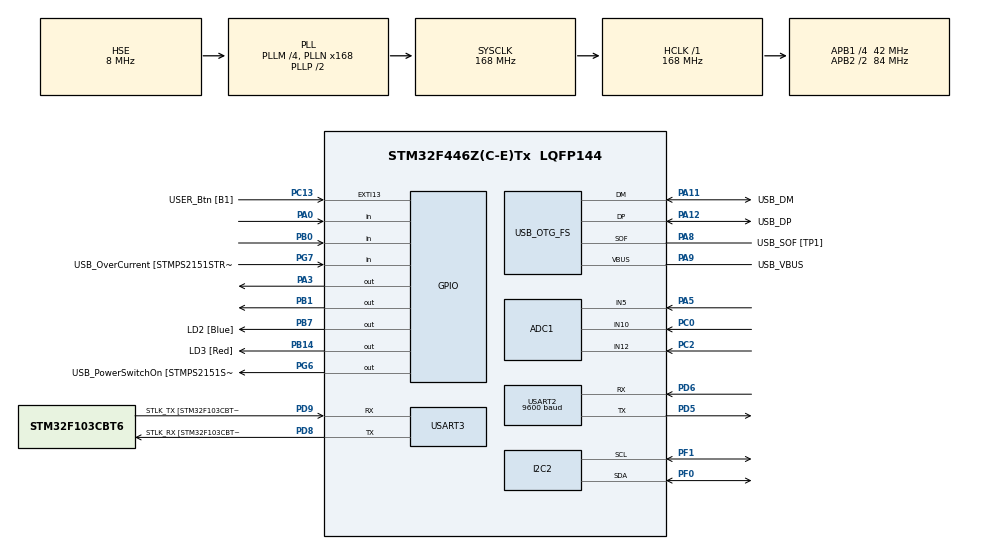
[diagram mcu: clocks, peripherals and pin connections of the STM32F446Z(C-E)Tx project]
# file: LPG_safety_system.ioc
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ADC1.Channel-0\#ChannelRegularConversion=ADC_CHANNEL_10
ADC1.ContinuousConvMode=DISABLE
ADC1.NbrOfConversionFlag=1
ADC1.Rank-0\#ChannelRegularConversion=1
ADC1.SamplingTime-0\#ChannelRegularConversion=ADC_SAMPLETIME_3CYCLES
ADC1.ScanConvMode=ENABLE
ADC1.master=1
Dma.ADC1.0.Direction=DMA_PERIPH_TO_MEMORY
Dma.ADC1.0.FIFOMode=DMA_FIFOMODE_DISABLE
Dma.ADC1.0.Instance=DMA2_Stream0
Dma.ADC1.0.MemDataAlignment=DMA_MDATAALIGN_HALFWORD
Dma.ADC1.0.MemInc=DMA_MINC_ENABLE
Dma.ADC1.0.Mode=DMA_NORMAL
Dma.ADC1.0.PeriphDataAlignment=DMA_PDATAALIGN_HALFWORD
Dma.ADC1.0.PeriphInc=DMA_PINC_DISABLE
Dma.ADC1.0.Priority=DMA_PRIORITY_LOW
Dma.Request0=ADC1
FREERTOS.Queues01=SensorQueue,16,20,1,Dynamic,NULL,NULL;StatusQueue,16,12,1,Dynamic,NULL,NULL;ControlQueue,16,uint32_t,0,Dynamic,NULL,NULL;CommQueue,8,uint32_t,0,Dynamic,NULL,NULL;CompQueue,8,uint32_t,0,Dynamic,NULL,NULL;LCDQueue,8,uint32_t,0,Dynamic,NULL,NULL;GSMQueue,16,uint32_t,0,Dynamic,NULL,NULL
FREERTOS.Tasks01=defaultTask,0,128,StartDefaultTask,Default,NULL,Dynamic,NULL,NULL;myTask02,0,256,SensorTask,Default,NULL,Dynamic,NULL,NULL;myTask03,3,256,ProcessTask,Default,NULL,Dynamic,NULL,NULL;myTask04,2,256,ControlTask,Default,NULL,Dynamic,NULL,NULL;myTask05,-2,256,CommunicationTask,Default,NULL,Dynamic,NULL,NULL;myTask06,-2,128,CompensationTask,Default,NULL,Dynamic,NULL,NULL;myTask07,0,256,lcd,Default,NULL,Dynamic,NULL,NULL;myTask08,0,128,GSM,Default,NULL,Dynamic,NULL,NULL
FREERTOS.configUSE_NEWLIB_REENTRANT=1
Mcu.Family=STM32F4
Mcu.Name=STM32F446Z(C-E)Tx
Mcu.Package=LQFP144
NVIC.ADC_IRQn=true\:5\:0\:false\:false\:true\:true\:true\:true\:true
NVIC.DMA2_Stream0_IRQn=true\:5\:0\:false\:false\:true\:true\:false\:true\:true
NVIC.PriorityGroup=NVIC_PRIORITYGROUP_4
NVIC.TIM1_UP_TIM10_IRQn=true\:15\:0\:false\:false\:true\:false\:false\:true\:true
NVIC.TimeBase=TIM1_UP_TIM10_IRQn
NVIC.TimeBaseIP=TIM1
PA0-WKUP.GPIO_PuPd=GPIO_PULLUP
PA0-WKUP.Signal=GPIO_Input
PA10.GPIO_Label=USB_ID
PA10.Signal=USB_OTG_FS_ID
PA11.GPIO_Label=USB_DM
PA11.Mode=Device_Only
PA11.Signal=USB_OTG_FS_DM
PA12.GPIO_Label=USB_DP
PA12.Mode=Device_Only
PA12.Signal=USB_OTG_FS_DP
PA13.GPIO_Label=TMS
PA13.Mode=Serial_Wire
PA13.Signal=SYS_JTMS-SWDIO
PA14.GPIO_Label=TCK
PA14.Mode=Serial_Wire
PA14.Signal=SYS_JTCK-SWCLK
PA3.Signal=GPIO_Output
PA5.Signal=ADCx_IN5
PA8.GPIO_Label=USB_SOF [TP1]
PA8.Mode=Activate_SOF_FS
PA8.Signal=USB_OTG_FS_SOF
PA9.GPIO_Label=USB_VBUS
PA9.Mode=Activate_VBUS
PA9.Signal=USB_OTG_FS_VBUS
PB0.GPIO_PuPd=GPIO_NOPULL
PB0.Signal=GPIO_Input
PB1.GPIO_PuPd=GPIO_NOPULL
PB1.GPIO_Speed=GPIO_SPEED_FREQ_LOW
PB1.Signal=GPIO_Output
PB14.GPIO_Label=LD3 [Red]
PB14.Signal=GPIO_Output
PB7.GPIO_Label=LD2 [Blue]
PB7.Signal=GPIO_Output
PC0.Signal=ADCx_IN10
PC13.GPIO_Label=USER_Btn [B1]
PC13.Signal=GPXTI13
PC14-OSC32_IN.Signal=RCC_OSC32_IN
PC15-OSC32_OUT.Signal=RCC_OSC32_OUT
PC2.Signal=ADCx_IN12
PD5.Mode=Asynchronous
PD5.Signal=USART2_TX
PD6.Mode=Asynchronous
PD6.Signal=USART2_RX
PD8.GPIO_Label=STLK_RX [STM32F103CBT6_PA3]
PD8.Mode=Asynchronous
PD8.Signal=USART3_TX
PD9.GPIO_Label=STLK_TX [STM32F103CBT6_PA2]
PD9.Mode=Asynchronous
PD9.Signal=USART3_RX
PF0.GPIO_Pu=GPIO_PULLUP
PF0.Mode=I2C
PF0.Signal=I2C2_SDA
PF1.GPIO_Pu=GPIO_PULLUP
PF1.Mode=I2C
PF1.Signal=I2C2_SCL
PG6.GPIO_Label=USB_PowerSwitchOn [STMPS2151STR_EN]
PG6.Signal=GPIO_Output
PG7.GPIO_Label=USB_OverCurrent [STMPS2151STR_FAULT]
PG7.Signal=GPIO_Input
PH0-OSC_IN.GPIO_Label=MCO [STM32F103CBT6_PA8]
PH0-OSC_IN.Mode=HSE-External-Clock-Source
PH0-OSC_IN.Signal=RCC_OSC_IN
PH1-OSC_OUT.Mode=HSE-External-Clock-Source
PH1-OSC_OUT.Signal=RCC_OSC_OUT
ProjectManager.HeapSize=0x200
ProjectManager.StackSize=0x400
ProjectManager.TargetToolchain=STM32CubeIDE
RCC.48MHZClocksFreq_Value=24000000
RCC.AHBFreq_Value=168000000
RCC.APB1CLKDivider=RCC_HCLK_DIV4
RCC.APB1Freq_Value=42000000
RCC.APB1TimFreq_Value=84000000
RCC.APB2CLKDivider=RCC_HCLK_DIV2
RCC.APB2Freq_Value=84000000
RCC.APB2TimFreq_Value=168000000
RCC.CortexFreq_Value=168000000
RCC.HCLKFreq_Value=168000000
RCC.HSE_VALUE=8000000
RCC.HSI_VALUE=16000000
RCC.PLLM=4
RCC.PLLMUL=RCC_PLL_MUL9
RCC.PLLN=168
RCC.PLLQ=7
RCC.PRESCALERUSB=RCC_USBCLKSOURCE_PLL_DIV1_5
RCC.SYSCLKFreq_VALUE=168000000
RCC.SYSCLKSource=RCC_SYSCLKSOURCE_PLLCLK
RCC.SYSCLKSourceVirtual=RCC_SYSCLKSOURCE_PLLCLK
RCC.USBFreq_Value=48000000
RCC.VCOOutputFreq_Value=336000000
SH.ADCx_IN10.0=ADC1_IN10,IN10
SH.ADCx_IN12.0=ADC1_IN12,IN12
SH.ADCx_IN5.0=ADC1_IN5,IN5
USART2.BaudRate=9600
USART2.VirtualMode=VM_ASYNC
USART3.VirtualMode=VM_ASYNC
USB_OTG_FS.VirtualMode=Device_Only
VP_FREERTOS_VS_CMSIS_V1.Mode=CMSIS_V1
VP_SYS_VS_tim1.Mode=TIM1
board=NUCLEO-F446ZE

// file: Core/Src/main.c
/* USER CODE BEGIN Header */
/**
  ******************************************************************************
  * @file           : main.c
  * @brief          : Main program body
  ******************************************************************************
  * @attention
  *
  * Copyright (c) 2026 STMicroelectronics.
  * All rights reserved.
  *
  * This software is licensed under terms that can be found in the LICENSE file
  * in the root directory of this software component.
  * If no LICENSE file comes with this software, it is provided AS-IS.
  *
  ******************************************************************************
  */
/* USER CODE END Header */
#include "main.h"
#include "cmsis_os.h"

/* USER CODE BEGIN Includes */
#include "mq2_sensor.h"
#include "mq4_sensor.h"
#include "mq7_sensor.h"
#include "hx711.h"
#include "dht22.h"
#include "actuator.h"
#include"LCD.h"
#include"GSM.h"
#include "stm32f4xx_hal.h"
#include<stdio.h>

/* USER CODE END Includes */

/* USER CODE BEGIN PTD */
typedef enum {
    LEAK_NORMAL = 0,   // No leak
    LEAK_SLOW   = 1,   // Slow leak
    LEAK_SUDDEN = 2    // Sudden leak
} LeakType_t;
typedef struct {
	    int32_t hx711_value;//hx711 outputs data in 2's complement format.
	    float weight;
	    uint32_t mq2_value;
	    float mq2_ppm;
	    uint32_t mq4_value;
	    float mq4_ppm;
	    uint32_t mq7_value;
	    float mq7_ppm;
	    float temperature;
	    float humidity;
} SensorData_t;

typedef struct {
	LeakType_t leakType;
    float remainingGas;    // kg
    int anomalyFlag;       // 0/1
    float compensatedGas;  // after environmental compensation
    float humidity,temperature;
    float weight;
    float mq2_ppm,mq4_ppm,mq7_ppm;
} StatusData_t;

/* USER CODE END PTD */

ADC_HandleTypeDef hadc1;//used to configure ADC1
DMA_HandleTypeDef hdma_adc1;
I2C_HandleTypeDef hi2c2;//LCD display
UART_HandleTypeDef huart2;//GSM communication
UART_HandleTypeDef huart3;//Debug terminal
/*Compensation factors-------------------------------------------------*/
volatile float g_mq2_threshold_low  = 50.0f;
volatile float g_mq4_threshold_low  = 50.0f;
volatile float g_mq7_threshold_low  = 20.0f;
volatile float g_mq2_threshold_high = 100.0f;
volatile float g_mq4_threshold_high = 100.0f;
volatile float g_mq7_threshold_high = 100.0f;

PCD_HandleTypeDef hpcd_USB_OTG_FS;

osThreadId defaultTaskHandle;
osThreadId myTask02Handle;
osThreadId myTask03Handle;
osThreadId myTask04Handle;
osThreadId myTask05Handle;
osThreadId myTask06Handle;
osThreadId myTask07Handle;
osThreadId myTask08Handle;
osMessageQId SensorQueueHandle;
osMessageQId StatusQueueHandle;
osMessageQId ControlQueueHandle;
osMessageQId CommQueueHandle;
osMessageQId CompQueueHandle;
osMessageQId LCDQueueHandle;
osMessageQId GSMQueueHandle;
/* USER CODE BEGIN PV */

/*----------------- HX711 calibration values (temporary)----------------------*/
volatile long offset = 0;             // tare offset (baseline)
volatile float factor = 0.00005f;     // ready-made calibration factor

/* USER CODE END PV */

void SystemClock_Config(void);
static void MX_GPIO_Init(void);
static void MX_DMA_Init(void);
static void MX_USART3_UART_Init(void);
static void MX_USB_OTG_FS_PCD_Init(void);
static void MX_ADC1_Init(void);
static void MX_I2C2_Init(void);
static void MX_USART2_UART_Init(void);
void StartDefaultTask(void const * argument);
void SensorTask(void const * argument);
void ProcessTask(void const * argument);
void ControlTask(void const * argument);
void CommunicationTask(void const * argument);
void CompensationTask(void const * argument);
void lcd(void const * argument);
void GSM(void const * argument);

/* USER CODE BEGIN PFP */

/*---------------------UART Redirect------------------------------------------------*/
int __io_putchar(int ch)
 {
     HAL_UART_Transmit(&huart3, (uint8_t *)&ch, 1, HAL_MAX_DELAY);
     return ch;
 }
//-----------------------------------------------------------------------------------//

/* USER CODE END PFP */

/* USER CODE BEGIN 0 */
/*
 * -------------------Code segment to use ITMViewer-----------------------------
int _write(int file, char *ptr, int len)
{
	for (int i=0; i<len; i++)
	{
		ITM_SendChar(ptr[i]);
	}
	return len;
}
*/
//-----------------------------------------------------------------------------//

/*-------------------I2C scanner code-----------------------------------------*/
/*
void I2C_Scanner(void) {
    printf("Starting I2C scan...\r\n");
    for (uint8_t addr = 1; addr < 128; addr++) {
        if (HAL_I2C_IsDeviceReady(&hi2c2, addr << 1, 1, 10) == HAL_OK) {
            printf("Found device at 0x%X\r\n", addr);
        }
    }
    printf("I2C scan complete.\r\n");
}
*/
//----------------------------------------------------------------------------//

/* USER CODE END 0 */

int main(void)
{

  /* MCU Configuration--------------------------------------------------------*/

  /* Reset of all peripherals, Initializes the Flash interface and the Systick. */
  HAL_Init();

  /* USER CODE BEGIN Init */

  /* --------------DWT counter enabled----------------------------------------*/
  CoreDebug->DEMCR |= CoreDebug_DEMCR_TRCENA_Msk;
  DWT->CYCCNT = 0;
  DWT->CTRL |= DWT_CTRL_CYCCNTENA_Msk;
  /*---------------------------------------------------------------------------*/
  /* USER CODE END Init */

  /* Configure the system clock */
  SystemClock_Config();

  /* Initialize all configured peripherals */
  MX_GPIO_Init();
  MX_DMA_Init();
  MX_USART3_UART_Init();
  MX_USB_OTG_FS_PCD_Init();
  MX_ADC1_Init();
  MX_I2C2_Init();
  MX_USART2_UART_Init();
  /* USER CODE BEGIN 2 */
 // I2C_Scanner();   // Function call to identify slave address.
  HX711_Init();
  lcd_init();
  /*MQ sensor calibration routine*/
  MQ2_CalibrateR0();
  MQ4_CalibrateR0();
  MQ7_CalibrateR0();

/*---------------------- HX711 tare offset (empty load cell)----------------*/
offset = HX711_Tare(20);   // average of 20 samples
factor = 0.00005f;// (known weight)/(raw -offset)
/*----------------------------------------------------------------------------*/
printf("********************************************\r\n");
printf("*          System Started                  * \r\n");
printf("*                                          * \r\n");
printf("********************************************\r\n");

  /* USER CODE END 2 */

  /* Create the queue(s) */
  /* definition and creation of SensorQueue */
  osMessageQDef(SensorQueue, 16, 20);
  SensorQueueHandle = osMessageCreate(osMessageQ(SensorQueue), NULL);

  /* definition and creation of StatusQueue */
  osMessageQDef(StatusQueue, 16, 12);
  StatusQueueHandle = osMessageCreate(osMessageQ(StatusQueue), NULL);

  /* definition and creation of ControlQueue */
  osMessageQDef(ControlQueue, 16, uint32_t);
  ControlQueueHandle = osMessageCreate(osMessageQ(ControlQueue), NULL);

  /* definition and creation of CommQueue */
  osMessageQDef(CommQueue, 8, uint32_t);
  CommQueueHandle = osMessageCreate(osMessageQ(CommQueue), NULL);

  /* definition and creation of CompQueue */
  osMessageQDef(CompQueue, 8, uint32_t);
  CompQueueHandle = osMessageCreate(osMessageQ(CompQueue), NULL);

  /* definition and creation of LCDQueue */
  osMessageQDef(LCDQueue, 8, uint32_t);
  LCDQueueHandle = osMessageCreate(osMessageQ(LCDQueue), NULL);

  /* definition and creation of GSMQueue */
  osMessageQDef(GSMQueue, 16, uint32_t);
  GSMQueueHandle = osMessageCreate(osMessageQ(GSMQueue), NULL);

  /* Create the thread(s) */
  /* definition and creation of defaultTask */
  osThreadDef(defaultTask, StartDefaultTask, osPriorityNormal, 0, 128);
  defaultTaskHandle = osThreadCreate(osThread(defaultTask), NULL);

  /* definition and creation of myTask02 */
  osThreadDef(myTask02, SensorTask, osPriorityNormal, 0, 256);
  myTask02Handle = osThreadCreate(osThread(myTask02), NULL);

  /* definition and creation of myTask03 */
  osThreadDef(myTask03, ProcessTask, osPriorityRealtime, 0, 256);
  myTask03Handle = osThreadCreate(osThread(myTask03), NULL);

  /* definition and creation of myTask04 */
  osThreadDef(myTask04, ControlTask, osPriorityHigh, 0, 256);
  myTask04Handle = osThreadCreate(osThread(myTask04), NULL);

  /* definition and creation of myTask05 */
  osThreadDef(myTask05, CommunicationTask, osPriorityLow, 0, 256);
  myTask05Handle = osThreadCreate(osThread(myTask05), NULL);

  /* definition and creation of myTask06 */
  osThreadDef(myTask06, CompensationTask, osPriorityLow, 0, 128);
  myTask06Handle = osThreadCreate(osThread(myTask06), NULL);

  /* definition and creation of myTask07 */
  osThreadDef(myTask07, lcd, osPriorityNormal, 0, 256);
  myTask07Handle = osThreadCreate(osThread(myTask07), NULL);

  /* definition and creation of myTask08 */
  osThreadDef(myTask08, GSM, osPriorityNormal, 0, 512);
  myTask08Handle = osThreadCreate(osThread(myTask08), NULL);

  /* Start scheduler */
  osKernelStart();

  /* We should never get here as control is now taken by the scheduler */

  /* Infinite loop */
  while (1)
  {

  }
}

void SystemClock_Config(void)
{
  RCC_OscInitTypeDef RCC_OscInitStruct = {0};
  RCC_ClkInitTypeDef RCC_ClkInitStruct = {0};

  /** Configure the main internal regulator output voltage
  */
  __HAL_RCC_PWR_CLK_ENABLE();
  __HAL_PWR_VOLTAGESCALING_CONFIG(PWR_REGULATOR_VOLTAGE_SCALE1);

  /** Initializes the RCC Oscillators according to the specified parameters
  * in the RCC_OscInitTypeDef structure.
  */
  RCC_OscInitStruct.OscillatorType = RCC_OSCILLATORTYPE_HSE;
  RCC_OscInitStruct.HSEState = RCC_HSE_BYPASS;
  RCC_OscInitStruct.PLL.PLLState = RCC_PLL_ON;
  RCC_OscInitStruct.PLL.PLLSource = RCC_PLLSOURCE_HSE;
  RCC_OscInitStruct.PLL.PLLM = 4;
  RCC_OscInitStruct.PLL.PLLN = 168;
  RCC_OscInitStruct.PLL.PLLP = RCC_PLLP_DIV2;
  RCC_OscInitStruct.PLL.PLLQ = 7;
  RCC_OscInitStruct.PLL.PLLR = 2;
  if (HAL_RCC_OscConfig(&RCC_OscInitStruct) != HAL_OK)
  {
    Error_Handler();
  }

  /** Initializes the CPU, AHB and APB buses clocks
  */
  RCC_ClkInitStruct.ClockType = RCC_CLOCKTYPE_HCLK|RCC_CLOCKTYPE_SYSCLK
                              |RCC_CLOCKTYPE_PCLK1|RCC_CLOCKTYPE_PCLK2;
  RCC_ClkInitStruct.SYSCLKSource = RCC_SYSCLKSOURCE_PLLCLK;
  RCC_ClkInitStruct.AHBCLKDivider = RCC_SYSCLK_DIV1;
  RCC_ClkInitStruct.APB1CLKDivider = RCC_HCLK_DIV4;
  RCC_ClkInitStruct.APB2CLKDivider = RCC_HCLK_DIV2;

  if (HAL_RCC_ClockConfig(&RCC_ClkInitStruct, FLASH_LATENCY_5) != HAL_OK)
  {
    Error_Handler();
  }
}

static void MX_ADC1_Init(void)
{

  ADC_ChannelConfTypeDef sConfig = {0};

  /** Configure the global features of the ADC (Clock, Resolution, Data Alignment and number of conversion)
  */
  hadc1.Instance = ADC1;
  hadc1.Init.ClockPrescaler = ADC_CLOCK_SYNC_PCLK_DIV4;
  hadc1.Init.Resolution = ADC_RESOLUTION_12B;
  hadc1.Init.ScanConvMode = ENABLE;
  hadc1.Init.ContinuousConvMode = DISABLE;
  hadc1.Init.DiscontinuousConvMode = DISABLE;
  hadc1.Init.ExternalTrigConvEdge = ADC_EXTERNALTRIGCONVEDGE_NONE;
  hadc1.Init.ExternalTrigConv = ADC_SOFTWARE_START;
  hadc1.Init.DataAlign = ADC_DATAALIGN_RIGHT;
  hadc1.Init.NbrOfConversion = 1;
  hadc1.Init.DMAContinuousRequests = DISABLE;
  hadc1.Init.EOCSelection = ADC_EOC_SINGLE_CONV;
  if (HAL_ADC_Init(&hadc1) != HAL_OK)
  {
    Error_Handler();
  }

  /** Configure for the selected ADC regular channel its corresponding rank in the sequencer and its sample time.
  */
  sConfig.Channel = ADC_CHANNEL_10;
  sConfig.Rank = 1;
  sConfig.SamplingTime = ADC_SAMPLETIME_3CYCLES;
  if (HAL_ADC_ConfigChannel(&hadc1, &sConfig) != HAL_OK)
  {
    Error_Handler();
  }

}

static void MX_I2C2_Init(void)
{

  hi2c2.Instance = I2C2;
  hi2c2.Init.ClockSpeed = 100000;
  hi2c2.Init.DutyCycle = I2C_DUTYCYCLE_2;
  hi2c2.Init.OwnAddress1 = 0;
  hi2c2.Init.AddressingMode = I2C_ADDRESSINGMODE_7BIT;
  hi2c2.Init.DualAddressMode = I2C_DUALADDRESS_DISABLE;
  hi2c2.Init.OwnAddress2 = 0;
  hi2c2.Init.GeneralCallMode = I2C_GENERALCALL_DISABLE;
  hi2c2.Init.NoStretchMode = I2C_NOSTRETCH_DISABLE;
  if (HAL_I2C_Init(&hi2c2) != HAL_OK)
  {
    Error_Handler();
  }

}

static void MX_USART2_UART_Init(void)
{

  huart2.Instance = USART2;
  huart2.Init.BaudRate = 9600;
  huart2.Init.WordLength = UART_WORDLENGTH_8B;
  huart2.Init.StopBits = UART_STOPBITS_1;
  huart2.Init.Parity = UART_PARITY_NONE;
  huart2.Init.Mode = UART_MODE_TX_RX;
  huart2.Init.HwFlowCtl = UART_HWCONTROL_NONE;
  huart2.Init.OverSampling = UART_OVERSAMPLING_16;
  if (HAL_UART_Init(&huart2) != HAL_OK)
  {
    Error_Handler();
  }

}

static void MX_USART3_UART_Init(void)
{

  huart3.Instance = USART3;
  huart3.Init.BaudRate = 115200;
  huart3.Init.WordLength = UART_WORDLENGTH_8B;
  huart3.Init.StopBits = UART_STOPBITS_1;
  huart3.Init.Parity = UART_PARITY_NONE;
  huart3.Init.Mode = UART_MODE_TX_RX;
  huart3.Init.HwFlowCtl = UART_HWCONTROL_NONE;
  huart3.Init.OverSampling = UART_OVERSAMPLING_16;
  if (HAL_UART_Init(&huart3) != HAL_OK)
  {
    Error_Handler();
  }

}

static void MX_USB_OTG_FS_PCD_Init(void)
{

  hpcd_USB_OTG_FS.Instance = USB_OTG_FS;
  hpcd_USB_OTG_FS.Init.dev_endpoints = 6;
  hpcd_USB_OTG_FS.Init.speed = PCD_SPEED_FULL;
  hpcd_USB_OTG_FS.Init.dma_enable = DISABLE;
  hpcd_USB_OTG_FS.Init.phy_itface = PCD_PHY_EMBEDDED;
  hpcd_USB_OTG_FS.Init.Sof_enable = ENABLE;
  hpcd_USB_OTG_FS.Init.low_power_enable = DISABLE;
  hpcd_USB_OTG_FS.Init.lpm_enable = DISABLE;
  hpcd_USB_OTG_FS.Init.vbus_sensing_enable = ENABLE;
  hpcd_USB_OTG_FS.Init.use_dedicated_ep1 = DISABLE;
  if (HAL_PCD_Init(&hpcd_USB_OTG_FS) != HAL_OK)
  {
    Error_Handler();
  }

}

static void MX_DMA_Init(void)
{

  /* DMA controller clock enable */
  __HAL_RCC_DMA2_CLK_ENABLE();

  /* DMA interrupt init */
  /* DMA2_Stream0_IRQn interrupt configuration */
  HAL_NVIC_SetPriority(DMA2_Stream0_IRQn, 5, 0);
  HAL_NVIC_EnableIRQ(DMA2_Stream0_IRQn);

}

static void MX_GPIO_Init(void)
{
  GPIO_InitTypeDef GPIO_InitStruct = {0};

  /* GPIO Ports Clock Enable */
  __HAL_RCC_GPIOC_CLK_ENABLE();
  __HAL_RCC_GPIOF_CLK_ENABLE();
  __HAL_RCC_GPIOH_CLK_ENABLE();
  __HAL_RCC_GPIOA_CLK_ENABLE();
  __HAL_RCC_GPIOB_CLK_ENABLE();
  __HAL_RCC_GPIOD_CLK_ENABLE();
  __HAL_RCC_GPIOG_CLK_ENABLE();

  /*Configure GPIO pin Output Level */
  HAL_GPIO_WritePin(GPIOA, GPIO_PIN_3, GPIO_PIN_SET);//sound buzzer

  /*Configure GPIO pin Output Level */
  HAL_GPIO_WritePin(GPIOB, GPIO_PIN_1|LD3_Pin|LD2_Pin, GPIO_PIN_RESET);

  /*Configure GPIO pin Output Level */
  HAL_GPIO_WritePin(USB_PowerSwitchOn_GPIO_Port, USB_PowerSwitchOn_Pin, GPIO_PIN_RESET);

  /*Configure GPIO pin : USER_Btn_Pin */
  GPIO_InitStruct.Pin = USER_Btn_Pin;
  GPIO_InitStruct.Mode = GPIO_MODE_IT_RISING;
  GPIO_InitStruct.Pull = GPIO_NOPULL;
  HAL_GPIO_Init(USER_Btn_GPIO_Port, &GPIO_InitStruct);

  /*Configure GPIO pin : PA0 */
  GPIO_InitStruct.Pin = GPIO_PIN_0;
  GPIO_InitStruct.Mode = GPIO_MODE_INPUT;
  GPIO_InitStruct.Pull = GPIO_PULLUP;
  HAL_GPIO_Init(GPIOA, &GPIO_InitStruct);

  /*Configure GPIO pin : PA3 */
  GPIO_InitStruct.Pin = GPIO_PIN_3;
  GPIO_InitStruct.Mode = GPIO_MODE_OUTPUT_PP;
  GPIO_InitStruct.Pull = GPIO_NOPULL;
  GPIO_InitStruct.Speed = GPIO_SPEED_FREQ_LOW;
  HAL_GPIO_Init(GPIOA, &GPIO_InitStruct);

  /*Configure GPIO pin : PB0 */
  GPIO_InitStruct.Pin = GPIO_PIN_0;
  GPIO_InitStruct.Mode = GPIO_MODE_INPUT;
  GPIO_InitStruct.Pull = GPIO_NOPULL;
  HAL_GPIO_Init(GPIOB, &GPIO_InitStruct);

  /*Configure GPIO pins : PB1 LD3_Pin LD2_Pin */
  GPIO_InitStruct.Pin = GPIO_PIN_1|LD3_Pin|LD2_Pin;
  GPIO_InitStruct.Mode = GPIO_MODE_OUTPUT_PP;
  GPIO_InitStruct.Pull = GPIO_NOPULL;
  GPIO_InitStruct.Speed = GPIO_SPEED_FREQ_LOW;
  HAL_GPIO_Init(GPIOB, &GPIO_InitStruct);

  /*Configure GPIO pin : USB_PowerSwitchOn_Pin */
  GPIO_InitStruct.Pin = USB_PowerSwitchOn_Pin;
  GPIO_InitStruct.Mode = GPIO_MODE_OUTPUT_PP;
  GPIO_InitStruct.Pull = GPIO_NOPULL;
  GPIO_InitStruct.Speed = GPIO_SPEED_FREQ_LOW;
  HAL_GPIO_Init(USB_PowerSwitchOn_GPIO_Port, &GPIO_InitStruct);

  /*Configure GPIO pin : USB_OverCurrent_Pin */
  GPIO_InitStruct.Pin = USB_OverCurrent_Pin;
  GPIO_InitStruct.Mode = GPIO_MODE_INPUT;
  GPIO_InitStruct.Pull = GPIO_NOPULL;
  HAL_GPIO_Init(USB_OverCurrent_GPIO_Port, &GPIO_InitStruct);

}

void StartDefaultTask(void const * argument)
{
  for(;;)
  {
    osDelay(1);
  }
}

void SensorTask(void const * argument)
{
  /* USER CODE BEGIN SensorTask */
	static SensorData_t data;

  /* Infinite loop */
  for(;;)
  {

	  //HX711 (wait for DOUT low handled inside HX711_Read)
	 	        data.hx711_value = HX711_Read();
	 	         data.weight = HX711_GetWeight(offset, factor);

	 	         //MQ2-LPG
	 	          data.mq2_value = MQ2_ReadADC();
	 	          data.mq2_ppm = MQ2_GetPPM(data.mq2_value);
	 	          // Added for debugging
	 	          /*
	 	           * uint32_t adc_val = MQ2_ReadADC();
	 	           * printf("MQ2 raw ADC = %lu\r\n", adc_val);
	 	            */
	 	          // MQ4-Methane
	 	          data.mq4_value = MQ4_ReadADC();
	 	          data.mq4_ppm = MQ4_GetPPM(data.mq4_value);
	 	         // Added for debugging
	 	        /*
	 	         *   uint32_t adc_val = MQ4_ReadADC();
	 	         *   printf("MQ4 raw ADC = %lu\r\n", adc_val);
	 	         */

	 	          // MQ7-CO
	 	           data.mq7_value = MQ7_ReadADC();
	 	           data.mq7_ppm = MQ7_GetPPM(data.mq7_value);
	 	          // Added for debugging
	 	          /*
	 	            *  uint32_t adc_val = MQ7_ReadADC();
	 	            *  printf("MQ7 raw ADC = %lu\r\n", adc_val);
	 	          */
	 	          // DHT22
	              if (DHT22_Read(GPIOA, GPIO_PIN_0, &data.temperature, &data.humidity) == HAL_OK){
	              }else{
	            	  printf("DHT22 read failed\r\r");
	            	  osMessagePut(SensorQueueHandle, (uint32_t)&data, 0);// Push sensor packet into sensor queue
	              }
	              osDelay(1000); // print/update every 1 second

  }
  /* USER CODE END SensorTask */
}

void ProcessTask(void const * argument)
{
  /* USER CODE BEGIN ProcessTask */
	   osEvent evt;
	   SensorData_t sensor;
	   static float prevWeight;
	   static StatusData_t status;
	   static float dailyConsumption[7]={0};
	   static int dayIndex=0,dayCount=0;

    /* Infinite loop */
    for(;;)
    {
      evt = osMessageGet(SensorQueueHandle, osWaitForever);
      if (evt.status == osEventMessage) {
      sensor= *(SensorData_t *)evt.value.p;
      if (prevWeight == 0.0f) {
                  prevWeight = sensor.weight;
              }
     // Leak classification
      float deltaW = sensor.weight - prevWeight;
     // float rate = deltaW / 0.5f; // per 0.5s sample
     /*
      if (rate < -2.0f) status.leakType = LEAK_SUDDEN;
      else if (rate < -0.2f) status.leakType = LEAK_SLOW;
      else status.leakType = LEAK_NORMAL;
      */
      if (sensor.mq2_ppm > g_mq2_threshold_low || sensor.mq4_ppm > g_mq4_threshold_low || sensor.mq7_ppm > g_mq7_threshold_low) {
          if (sensor.mq2_ppm > g_mq2_threshold_high || sensor.mq4_ppm > g_mq4_threshold_high || sensor.mq7_ppm > g_mq7_threshold_high) {
              status.leakType = LEAK_SUDDEN;
          } else {
              status.leakType = LEAK_SLOW;
          }
      } else {
          status.leakType = LEAK_NORMAL;
      }

      //Gas identification-this block is implemented to identify which gas is dominant based on sensor combinations
      if(sensor.mq2_ppm>50 && sensor.mq4_ppm>50)
      status.anomalyFlag=1;//LPG or methane
      else if (sensor.mq7_ppm >50 && sensor.mq2_ppm>50)
      status.anomalyFlag=2;//carbon monoxide
      else
      status.anomalyFlag=0;//Normal
      // Compensation factors
      float tempFactor     = 1.0f - (sensor.temperature - 25.0f) * 0.01f;
      float humidityFactor = 1.0f - (sensor.humidity - 40.0f) * 0.001f;
      status.compensatedGas = sensor.weight * tempFactor * humidityFactor;

      // Apply compensation to sensor curves (ppm values)

      status.mq2_ppm = MQ2_GetPPM(sensor.mq2_value) * tempFactor * humidityFactor;
      status.mq4_ppm = MQ4_GetPPM(sensor.mq4_value) * tempFactor * humidityFactor;
      status.mq7_ppm = MQ7_GetPPM(sensor.mq7_value) * tempFactor * humidityFactor;

      // Prediction of remaining days based on user usage pattern

    	            float consumedToday = prevWeight - sensor.weight;
 /*if the consumed gas is greater than 100 grams the consumed quantity
  is stored within daily consumption buffer with 7 elements corresponding to 7 days*/
    	            if (consumedToday > 0.1f)
    	            {
    	            dailyConsumption[dayIndex] = consumedToday;
    	            dayIndex = (dayIndex + 1) % 7;
    	            if (dayCount < 7) dayCount++;
    	            }
/* Adds up all stored daily consumption values,then divide by number of days to
 * calculate average consumption.based on the computed average value remaining
 * number of days is calculated */
    	            float sum = 0;
    	            for (int i=0; i<dayCount; i++) sum += dailyConsumption[i];
    	            float avgConsumption = (dayCount > 0) ? sum/dayCount : 0;
    	            status.remainingGas = (avgConsumption > 0.01f) ? sensor.weight/avgConsumption : 0;

    	            //Copying sensor values
    	            status.humidity = sensor.humidity;
    	            status.temperature=sensor.temperature;
    	            status.weight = sensor.weight;
    	            prevWeight = sensor.weight;

    	            //Data is broadcasted to queues
    	            osMessagePut(StatusQueueHandle, (uint32_t)&status, 0);
    	            osMessagePut(ControlQueueHandle, (uint32_t)&status, 0);
    	            osMessagePut(CommQueueHandle, (uint32_t)&status, 0);
    	            osMessagePut(CompQueueHandle, (uint32_t)&status, 0);
    	            osMessagePut(LCDQueueHandle, (uint32_t)&status, 0);
    	            osMessagePut(GSMQueueHandle, (uint32_t)&status, 0);

    	            }
    }
  /* USER CODE END ProcessTask */
}

void ControlTask(void const * argument)
{
  /* USER CODE BEGIN ControlTask */
	osEvent evt;
    StatusData_t status;

  /* Infinite loop */
  for(;;)
  {

	  evt = osMessageGet(ControlQueueHandle,osWaitForever);
	          if (evt.status == osEventMessage) {
	          StatusData_t *statusPtr = (StatusData_t *)evt.value.p;
	       	  status = *statusPtr;
	              switch (status.leakType) {
	                  case LEAK_SUDDEN:
	                      // closeValve();
	                       soundBuzzer();
	                      break;

	                  case LEAK_SLOW:
	                       soundBuzzer();
	                      break;

	                  case LEAK_NORMAL:
	                      // No action required
	                      break;
                  }
	          }

    osDelay(1);
  }

  /* USER CODE END ControlTask */
}

void CommunicationTask(void const * argument)
{
  /* USER CODE BEGIN CommunicationTask */
	osEvent evt;
    StatusData_t status;
    uint8_t *gsmMsg;
	const char* leakTypeStr[] = {"Normal", "Slow", "Sudden"};

	/* Infinite loop */
  for(;;)
  {
	  evt = osMessageGet(CommQueueHandle, osWaitForever);
	  	       if (evt.status == osEventMessage) {
	  	       char *msg = (char*)evt.value.p;
	  	       StatusData_t *statusPtr = (StatusData_t *)evt.value.p;
	  	       status = *statusPtr;

	  	       // Fetch the latest sensor data from bundled status queue
	  	      printf("Cylinder Weight=%.2f kg\r\n",status.weight);
	  	      printf("LPG concentration in PPM =%.2f\r\n",status.mq2_ppm);
	  	      printf("Methane concentration in PPM =%.2f\r\n",status.mq4_ppm);
	  	      printf("CO concentration in PPM =%.2f\r\n",status.mq7_ppm);
	  	      printf("Temperature =%.1f °C, Humidity=%.1f %%\r\n", status.temperature, status.humidity);
	  	       }
	  	       // Print status information like leak status,remaining number of days etc.
	  	      printf("Leak Type=%s, Remaining number of Days=%.1f \r\n",leakTypeStr[status.leakType], status.remainingGas);
	  	       if (status.anomalyFlag == 1)
	  	    	   printf("Status: LPG/ Methane detected!\r\n");
	  	       else if (status.anomalyFlag == 2)
	  	    	   printf("Status: CO detected!\r\n");
	  	       else
	  	    	   printf("Status: Normal\r\n");
	  	     // Handle GSM replies

	  	       evt = osMessageGet(GSMQueueHandle, 0); // non-blocking
	  	       if (evt.status == osEventMessage) {
	  	       gsmMsg = (uint8_t*)evt.value.p;
	  	       printf("GSM Response: %s\r\n", gsmMsg);
	  	       }
	  	       osDelay(1000); // print every 10 seconds

	          }

  /* USER CODE END CommunicationTask */
}

void CompensationTask(void const * argument)
{
  /* USER CODE BEGIN CompensationTask */
	osEvent evt;
    StatusData_t status;
  /* Infinite loop */
    for(;;)
       {
           evt = osMessageGet(CompQueueHandle, osWaitForever);
           if (evt.status == osEventMessage) {
               status = *(StatusData_t *)evt.value.p;

               float tempFactor     = 1.0f + (status.temperature - 25.0f) * 0.01f;
               float humidityFactor = 1.0f + (status.humidity - 40.0f) * 0.001f;
               float compFactor = tempFactor * humidityFactor;

               g_mq2_threshold_low  = 50.0f  * compFactor;
               g_mq4_threshold_low  = 50.0f  * compFactor;
               g_mq7_threshold_low  = 20.0f  * compFactor;
               g_mq2_threshold_high = 100.0f * compFactor;
               g_mq4_threshold_high = 100.0f * compFactor;
               g_mq7_threshold_high = 100.0f * compFactor;
           }
       }

  /* USER CODE END CompensationTask */
}

void lcd(void const * argument)
{
  /* USER CODE BEGIN lcd */
	osEvent evt;
	osEvent evtSensor;
	StatusData_t status;
	const char* leakTypeStr[] = {"Normal", "Slow", "Sudden"};
	char line1[17];
	char line2[17];
	lcd_clear();
	lcd_set_cursor(0,0);
	lcd_send_string("System Started");
	osDelay(2000);
  /* Infinite loop */
  for(;;)
  {
	         evt = osMessageGet(LCDQueueHandle, osWaitForever);
	         if (evt.status == osEventMessage) {
	             status = *(StatusData_t*)evt.value.p;
	             // Warning Screen: shown first, only when a leak is active
	            if (status.leakType == LEAK_SUDDEN || status.leakType == LEAK_SLOW) {
	            snprintf(line1, sizeof(line1), "!! GAS LEAK !!");
	            snprintf(line2, sizeof(line2), "%s LEAK", leakTypeStr[status.leakType]);
	            lcd_clear();
	            lcd_set_cursor(0,0);
	            lcd_send_string(line1);
	            lcd_set_cursor(1,0);
	            lcd_send_string(line2);
	            osDelay(2000);
	             	             }
	             // Screen 1: Weight + Temp + Leak
	             snprintf(line1, sizeof(line1), "W:%.1fkg T:%.1fC", status.weight, status.temperature);
	             snprintf(line2, sizeof(line2), "L:%s D:%.0f", leakTypeStr[status.leakType], status.remainingGas);
	             lcd_clear();
	             lcd_set_cursor(0,0);
	             lcd_send_string(line1);
	             lcd_set_cursor(1,0);
	             lcd_send_string(line2);
	             osDelay(2000);
	             // Screen 2: Humidity + Compensated Gas
	             snprintf(line1, sizeof(line1), "H:%.1f%%", status.humidity);
	             snprintf(line2, sizeof(line2), "Comp:%.1fkg", status.compensatedGas);
	             lcd_clear();
	             lcd_set_cursor(0,0);
	             lcd_send_string(line1);
	             lcd_set_cursor(1,0);
	             lcd_send_string(line2);
	             osDelay(2000);
	             // Screen 3: Gas Identification
	             if (status.anomalyFlag == 1)
	            	 snprintf (line1, sizeof(line1), "Gas: LPG/Meth");
	             else if (status.anomalyFlag == 2)
	            	 snprintf(line1, sizeof(line1), "Gas: CO");
	             else snprintf(line1, sizeof(line1), "Gas: Normal");
	         }

  }
  /* USER CODE END lcd */
}

void GSM(void const * argument)
{
  /* USER CODE BEGIN GSM */
	 osEvent evt;
	 StatusData_t status;
	 GSM_Init();

  /* Infinite loop */
	 for(;;)
	   {
		 evt = osMessageGet(GSMQueueHandle, osWaitForever);

		         if (evt.status == osEventMessage)
		         {
		             status = *(StatusData_t *)evt.value.p;
// change the if condition to if (status.leaktype==LEAK_SUDDEN||staus.leaktype==LEAK_SLOW) for testing purpose
		             if (status.leakType == LEAK_SUDDEN)
		             {
		                 printf("\r\n*** SUDDEN LEAK DETECTED ***\r\n");
		                 printf("Sending GSM alert...\r\n");
		                 GSM_SendLeakAlert(&status);
		             }
		             else if (status.leakType == LEAK_SLOW)
		             {
		                 printf("\r\n*** SLOW LEAK DETECTED ***\r\n");
		                 printf("Sending GSM alert...\r\n");
		                 GSM_SendLeakAlert(&status);
		                 printf("GSM alert processing completed.\r\n");
		             }
		         }

     }

  /* USER CODE END GSM */
}

void HAL_TIM_PeriodElapsedCallback(TIM_HandleTypeDef *htim)
{
  if (htim->Instance == TIM1)
  {
    HAL_IncTick();
  }
}

void Error_Handler(void)
{
}
